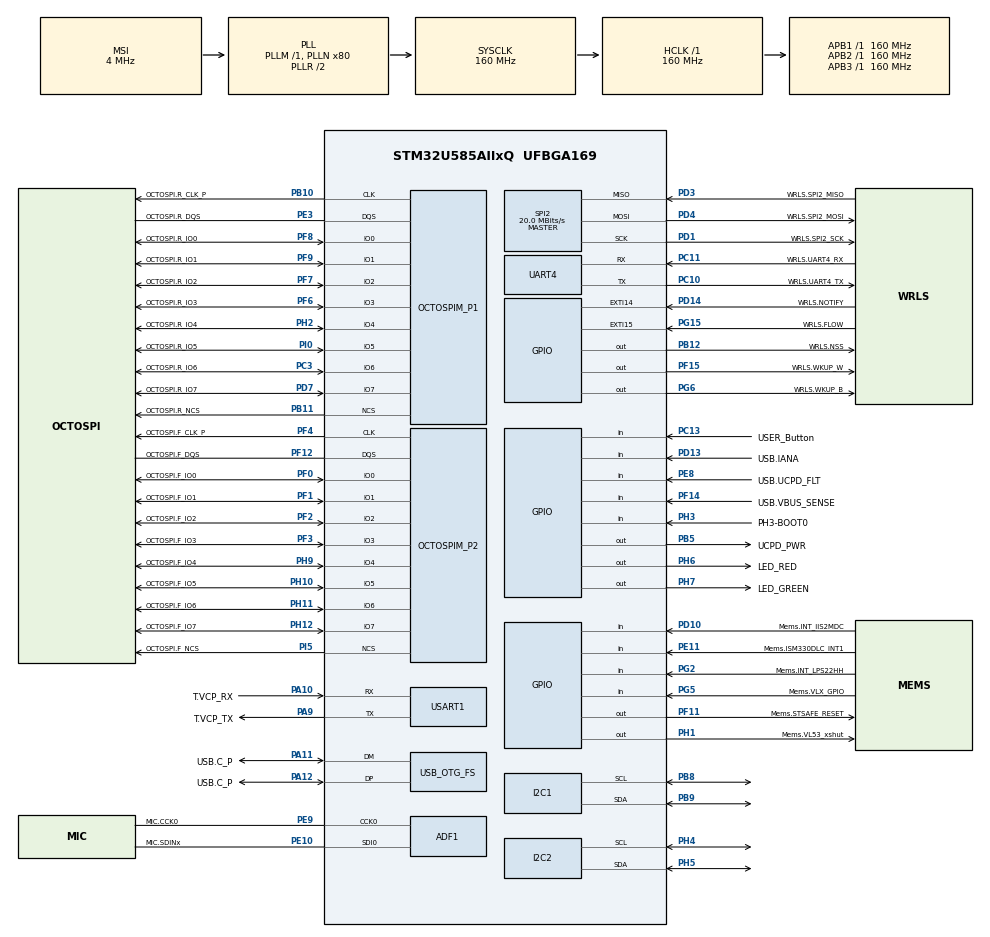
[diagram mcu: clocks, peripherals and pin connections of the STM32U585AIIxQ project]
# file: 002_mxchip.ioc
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CORTEX_M33_NS.userName=CORTEX_M33
GPDMA1.DESTINC_GPDMACH4=DMA_DINC_INCREMENTED
GPDMA1.DIRECTION_GPDMACH5=DMA_MEMORY_TO_PERIPH
GPDMA1.IPHANDLE_GPDMACH4-SIMPLEREQUEST_GPDMACH4=__NULL
GPDMA1.IPHANDLE_GPDMACH5-SIMPLEREQUEST_GPDMACH5=__NULL
GPDMA1.PRIORITY_GPDMACH4=DMA_LOW_PRIORITY_HIGH_WEIGHT
GPDMA1.PRIORITY_GPDMACH5=DMA_LOW_PRIORITY_HIGH_WEIGHT
GPDMA1.REQUEST_GPDMACH4=GPDMA1_REQUEST_SPI2_RX
GPDMA1.REQUEST_GPDMACH5=GPDMA1_REQUEST_SPI2_TX
GPDMA1.SRCINC_GPDMACH5=DMA_SINC_INCREMENTED
GPDMA1.TRANSFERALLOCATEDPORTDEST_GPDMACH4=DMA_DEST_ALLOCATED_PORT1
GPDMA1.TRANSFERALLOCATEDPORTDEST_GPDMACH5=DMA_DEST_ALLOCATED_PORT1
I2C1.Timing=0x30909DEC
I2C2.Timing=0x30909DEC
Mcu.Family=STM32U5
Mcu.Name=STM32U585AIIxQ
Mcu.Package=UFBGA169
NETXDUO.NX_APP_MEM_POOL_SIZE=(160 * 1024)
NETXDUO.NX_DISABLE_LOOPBACK_INTERFACE=true
NETXDUO.NX_DNS_IP_GATEWAY_AND_DNS_SERVER=true
NETXDUO.NX_DRIVER_DEFERRED_PROCESSING=true
NETXDUO.NX_ENABLE_EXTENDED_NOTIFY_SUPPORT=true
NETXDUO.NX_ENABLE_IP_RAW_PACKET_FILTER=true
NETXDUO.NX_IP_PERIODIC_RATE=1000
NETXDUO.NX_PHYSICAL_HEADER=44
NETXDUO.NX_TCP_IMMEDIATE_ACK=true
NVIC.EXTI14_IRQn=true\:2\:0\:true\:false\:true\:false\:true\:true\:true
NVIC.EXTI15_IRQn=true\:2\:0\:true\:false\:true\:false\:true\:true\:true
NVIC.GPDMA1_Channel4_IRQn=true\:2\:0\:true\:false\:true\:false\:false\:true\:true
NVIC.GPDMA1_Channel5_IRQn=true\:2\:0\:true\:false\:true\:false\:false\:true\:true
NVIC.PriorityGroup=NVIC_PRIORITYGROUP_4
NVIC.SPI2_IRQn=true\:2\:0\:true\:false\:true\:false\:true\:true\:true
NVIC.TIM6_IRQn=true\:0\:0\:true\:false\:true\:false\:false\:true\:true
NVIC.TimeBase=TIM6_IRQn
NVIC.TimeBaseIP=TIM6
NVIC.USART1_IRQn=true\:3\:0\:true\:false\:true\:false\:true\:true\:true
OCTOSPI1.ChipSelectBoundary=10
OCTOSPI1.ClockPrescaler=2
OCTOSPI1.DelayBlockBypass=HAL_OSPI_DELAY_BLOCK_USED
OCTOSPI1.DelayHoldQuarterCycle=HAL_OSPI_DHQC_ENABLE
OCTOSPI1.DeviceSize=23
OCTOSPI1.MemoryType=HAL_OSPI_MEMTYPE_APMEMORY
OCTOSPI1.Refresh=100
OCTOSPI2.ChipSelectBoundary=0
OCTOSPI2.ChipSelectHighTime=2
OCTOSPI2.ClockPrescaler=4
OCTOSPI2.DelayBlockBypass=HAL_OSPI_DELAY_BLOCK_USED
OCTOSPI2.DelayHoldQuarterCycle=HAL_OSPI_DHQC_ENABLE
OCTOSPI2.DeviceSize=26
OCTOSPI2.FifoThreshold=4
OCTOSPI2.MemoryType=HAL_OSPI_MEMTYPE_MACRONIX
PA10.GPIO_Label=T.VCP_RX
PA10.Mode=Asynchronous
PA10.Signal=USART1_RX
PA11.GPIO_Label=USB.C_P
PA11.Mode=Device_Only
PA11.Signal=USB_OTG_FS_DM
PA12.GPIO_Label=USB.C_P
PA12.Mode=Device_Only
PA12.Signal=USB_OTG_FS_DP
PA13\ (JTMS/SWDIO).GPIO_Label=T.SWDIO
PA13\ (JTMS/SWDIO).Mode=Trace_Asynchronous_SW
PA13\ (JTMS/SWDIO).Signal=DEBUG_JTMS-SWDIO
PA14\ (JTCK/SWCLK).GPIO_Label=T.SWCLK
PA14\ (JTCK/SWCLK).Mode=Trace_Asynchronous_SW
PA14\ (JTCK/SWCLK).Signal=DEBUG_JTCK-SWCLK
PA9.GPIO_Label=T.VCP_TX
PA9.Mode=Asynchronous
PA9.Signal=USART1_TX
PB1.GPIO_Label=MIC.SDIN0
PB1.Signal=MDF1_SDI0
PB10.GPIO_Label=OCTOSPI.R_CLK_P
PB10.Mode=O1_P1_CLK
PB10.Signal=OCTOSPIM_P1_CLK
PB11.GPIO_Label=OCTOSPI.R_NCS
PB11.Mode=OCTOSPI1_Port1_NCS
PB11.Signal=OCTOSPIM_P1_NCS
PB12.GPIO_Label=WRLS.NSS
PB12.GPIO_Speed=GPIO_SPEED_FREQ_HIGH
PB12.PinState=GPIO_PIN_SET
PB12.Signal=GPIO_Output
PB15.GPIO_Label=USB.UCPD_CC2
PB15.Signal=UCPD1_CC2
PB3\ (JTDO/TRACESWO).GPIO_Label=T.SWO
PB3\ (JTDO/TRACESWO).Mode=Trace_Asynchronous_SW
PB3\ (JTDO/TRACESWO).Signal=DEBUG_JTDO-SWO
PB5.GPIO_Label=UCPD_PWR
PB5.Signal=GPIO_Output
PB8.Mode=I2C
PB8.Signal=I2C1_SCL
PB9.Mode=I2C
PB9.Signal=I2C1_SDA
PC10.GPIO_Label=WRLS.UART4_TX
PC10.Mode=Asynchronous
PC10.Signal=UART4_TX
PC11.GPIO_Label=WRLS.UART4_RX
PC11.Mode=Asynchronous
PC11.Signal=UART4_RX
PC13.GPIO_Label=USER_Button
PC13.Signal=GPIO_Input
PC14-OSC32_IN\ (PC14).GPIO_Label=PC14-OSC32_IN
PC14-OSC32_IN\ (PC14).Mode=LSE-External-Oscillator
PC14-OSC32_IN\ (PC14).Signal=RCC_OSC32_IN
PC15-OSC32_OUT\ (PC15).GPIO_Label=PC15-OSC32_OUT
PC15-OSC32_OUT\ (PC15).Mode=LSE-External-Oscillator
PC15-OSC32_OUT\ (PC15).Signal=RCC_OSC32_OUT
PC3.GPIO_Label=OCTOSPI.R_IO6
PC3.Mode=OCTOSPI1_IOH_Port1H
PC3.Signal=OCTOSPIM_P1_IO6
PD1.GPIO_Label=WRLS.SPI2_SCK
PD1.GPIO_Speed=GPIO_SPEED_FREQ_HIGH
PD1.Mode=Full_Duplex_Master
PD1.Signal=SPI2_SCK
PD10.GPIO_Label=Mems.INT_IIS2MDC
PD10.Signal=GPIO_Input
PD13.GPIO_Label=USB.IANA
PD13.Signal=GPIO_Input
PD14.GPIO_Label=WRLS.NOTIFY
PD14.Signal=GPXTI14
PD3.GPIO_Label=WRLS.SPI2_MISO
PD3.GPIO_Speed=GPIO_SPEED_FREQ_HIGH
PD3.Mode=Full_Duplex_Master
PD3.Signal=SPI2_MISO
PD4.GPIO_Label=WRLS.SPI2_MOSI
PD4.GPIO_Speed=GPIO_SPEED_FREQ_HIGH
PD4.Mode=Full_Duplex_Master
PD4.Signal=SPI2_MOSI
PD7.GPIO_Label=OCTOSPI.R_IO7
PD7.Mode=OCTOSPI1_IOH_Port1H
PD7.Signal=OCTOSPIM_P1_IO7
PE10.GPIO_Label=MIC.SDINx
PE10.Mode=MOD_ADF_CCK
PE10.Signal=ADF1_SDI0
PE11.GPIO_Label=Mems.ISM330DLC_INT1
PE11.Signal=GPIO_Input
PE3.GPIO_Label=OCTOSPI.R_DQS
PE3.Mode=OCTOSPI1_Port1_DQS
PE3.Signal=OCTOSPIM_P1_DQS
PE8.GPIO_Label=USB.UCPD_FLT
PE8.Signal=GPIO_Input
PE9.GPIO_Label=MIC.CCK0
PE9.Mode=MOD_MDF_CCK0
PE9.Signal=ADF1_CCK0
PF0.GPIO_Label=OCTOSPI.F_IO0
PF0.Mode=OCTOSPI2_IOL_Port2L
PF0.Signal=OCTOSPIM_P2_IO0
PF1.GPIO_Label=OCTOSPI.F_IO1
PF1.Mode=OCTOSPI2_IOL_Port2L
PF1.Signal=OCTOSPIM_P2_IO1
PF10.GPIO_Label=MIC.CCK1
PF10.Signal=MDF1_CCK1
PF11.GPIO_Label=Mems.STSAFE_RESET
PF11.Signal=GPIO_Output
PF12.GPIO_Label=OCTOSPI.F_DQS
PF12.Mode=OCTOSPI2_Port2_DQS
PF12.Signal=OCTOSPIM_P2_DQS
PF14.GPIO_Label=USB.VBUS_SENSE
PF14.Signal=GPIO_Input
PF15.GPIO_Label=WRLS.WKUP_W
PF15.Signal=GPIO_Output
PF2.GPIO_Label=OCTOSPI.F_IO2
PF2.Mode=OCTOSPI2_IOL_Port2L
PF2.Signal=OCTOSPIM_P2_IO2
PF3.GPIO_Label=OCTOSPI.F_IO3
PF3.Mode=OCTOSPI2_IOL_Port2L
PF3.Signal=OCTOSPIM_P2_IO3
PF4.GPIO_Label=OCTOSPI.F_CLK_P
PF4.Mode=O2_P2_CLK
PF4.Signal=OCTOSPIM_P2_CLK
PF6.GPIO_Label=OCTOSPI.R_IO3
PF6.Mode=OCTOSPI1_IOL_Port1L
PF6.Signal=OCTOSPIM_P1_IO3
PF7.GPIO_Label=OCTOSPI.R_IO2
PF7.Mode=OCTOSPI1_IOL_Port1L
PF7.Signal=OCTOSPIM_P1_IO2
PF8.GPIO_Label=OCTOSPI.R_IO0
PF8.Mode=OCTOSPI1_IOL_Port1L
PF8.Signal=OCTOSPIM_P1_IO0
PF9.GPIO_Label=OCTOSPI.R_IO1
PF9.Mode=OCTOSPI1_IOL_Port1L
PF9.Signal=OCTOSPIM_P1_IO1
PG15.GPIO_Label=WRLS.FLOW
PG15.Signal=GPXTI15
PG2.GPIO_Label=Mems.INT_LPS22HH
PG2.Signal=GPIO_Input
PG5.GPIO_Label=Mems.VLX_GPIO
PG5.Signal=GPIO_Input
PG6.GPIO_Label=WRLS.WKUP_B
PG6.Signal=GPIO_Output
PH1-OSC_OUT\ (PH1).GPIO_Label=Mems.VL53_xshut
PH1-OSC_OUT\ (PH1).Signal=GPIO_Output
PH10.GPIO_Label=OCTOSPI.F_IO5
PH10.Mode=OCTOSPI2_IOH_Port2H
PH10.Signal=OCTOSPIM_P2_IO5
PH11.GPIO_Label=OCTOSPI.F_IO6
PH11.Mode=OCTOSPI2_IOH_Port2H
PH11.Signal=OCTOSPIM_P2_IO6
PH12.GPIO_Label=OCTOSPI.F_IO7
PH12.Mode=OCTOSPI2_IOH_Port2H
PH12.Signal=OCTOSPIM_P2_IO7
PH2.GPIO_Label=OCTOSPI.R_IO4
PH2.Mode=OCTOSPI1_IOH_Port1H
PH2.Signal=OCTOSPIM_P1_IO4
PH3-BOOT0.GPIO_Label=PH3-BOOT0
PH3-BOOT0.Signal=GPIO_Input
PH4.Mode=I2C
PH4.Signal=I2C2_SCL
PH5.Mode=I2C
PH5.Signal=I2C2_SDA
PH6.GPIO_Label=LED_RED
PH6.Signal=GPIO_Output
PH7.GPIO_Label=LED_GREEN
PH7.Signal=GPIO_Output
PH9.GPIO_Label=OCTOSPI.F_IO4
PH9.Mode=OCTOSPI2_IOH_Port2H
PH9.Signal=OCTOSPIM_P2_IO4
PI0.GPIO_Label=OCTOSPI.R_IO5
PI0.Mode=OCTOSPI1_IOH_Port1H
PI0.Signal=OCTOSPIM_P1_IO5
PI5.GPIO_Label=OCTOSPI.F_NCS
PI5.Mode=OCTOSPI2_Port2_NCS
PI5.Signal=OCTOSPIM_P2_NCS
PWR.PowerMode=PWR_SMPS_SUPPLY
ProjectManager.HeapSize=0x200
ProjectManager.StackSize=0x400
ProjectManager.TargetToolchain=STM32CubeIDE
RCC.ADCFreq_Value=16000000
RCC.AHBFreq_Value=160000000
RCC.APB1Freq_Value=160000000
RCC.APB1TimFreq_Value=160000000
RCC.APB2Freq_Value=160000000
RCC.APB2TimFreq_Value=160000000
RCC.APB3Freq_Value=160000000
RCC.CortexFreq_Value=160000000
RCC.DACCLockSelectionVirtual=RCC_DAC1CLKSOURCE_LSI
RCC.EPOD_VALUE=4000000
RCC.HCLKFreq_Value=160000000
RCC.HSE_VALUE=16000000
RCC.HSI48_VALUE=48000000
RCC.HSI_VALUE=16000000
RCC.LSIDIV_VALUE=32000
RCC.MSI_VALUE=4000000
RCC.PLLN=80
RCC.SYSCLKFreq_VALUE=160000000
RCC.SYSCLKSource=RCC_SYSCLKSOURCE_PLLCLK
RCC.USBFreq_Value=48000000
RCC.VCOOutputFreq_Value=320000000
SPI2.BaudRatePrescaler=SPI_BAUDRATEPRESCALER_8
SPI2.CalculateBaudRate=20.0 MBits/s
SPI2.DataSize=SPI_DATASIZE_8BIT
SPI2.Direction=SPI_DIRECTION_2LINES
SPI2.Mode=SPI_MODE_MASTER
SPI2.NSSPMode=SPI_NSS_PULSE_DISABLE
SPI2.VirtualType=VM_MASTER
THREADX.TX_APP_MEM_POOL_SIZE=(2 * 1024)
USART1.VirtualMode-Asynchronous=VM_ASYNC
USB_OTG_FS.VirtualMode=Device_Only
VP_GPDMA1_VS_GPDMACH4.Mode=SIMPLEREQUEST_GPDMACH4
VP_GPDMA1_VS_GPDMACH5.Mode=SIMPLEREQUEST_GPDMACH5
VP_ICACHE_VS_ICACHE.Mode=DirectMappedCache
VP_LPBAMQUEUE_VS_QUEUE.Mode=QUEUEMODE
VP_LPBAM_VS_SIG1.Mode=SmartRun
VP_LPBAM_VS_SIG4.Mode=LPDMA1
VP_MEMORYMAP_VS_MEMORYMAP.Mode=CurAppReg
VP_NETXDUO_VS_AddonsOoDHCP.Mode=Addons_DHCP_Client
VP_NETXDUO_VS_AddonsOoDNS.Mode=Addons_DNS
VP_NETXDUO_VS_NXOoCore.Mode=NX_Core
VP_OCTOSPI1_VS_octo.Mode=octo_mode
VP_OCTOSPI2_VS_octo.Mode=octo_mode
VP_PWR_VS_DBSignals.Mode=DisableDeadBatterySignals
VP_PWR_VS_LPOM.Mode=PowerOptimisation
VP_PWR_VS_SECSignals.Mode=Security/Privilege
VP_RNG_VS_RNG.Mode=RNG_Activate
VP_SYS_VS_tim6.Mode=TIM6
VP_THREADX_VS_RTOSJjThreadXJjCoreJjDefault.Mode=Core_Default
VP_THREADX_VS_RTOSJjThreadXJjLow_Power_Support.Mode=Low_Power_Support
board=B-U585I-IOT02A

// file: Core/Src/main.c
/* USER CODE BEGIN Header */
/**
  ******************************************************************************
  * @file           : main.c
  * @brief          : Main program body
  ******************************************************************************
  * @attention
  *
  * Copyright (c) 2025 STMicroelectronics.
  * All rights reserved.
  *
  * This software is licensed under terms that can be found in the LICENSE file
  * in the root directory of this software component.
  * If no LICENSE file comes with this software, it is provided AS-IS.
  *
  ******************************************************************************
  */
/* USER CODE END Header */
#include "app_threadx.h"
#include "main.h"

/* USER CODE BEGIN Includes */
#include <stdio.h>

/* USER CODE END Includes */

MDF_HandleTypeDef AdfHandle0;
MDF_FilterConfigTypeDef AdfFilterConfig0;

I2C_HandleTypeDef hi2c1;
I2C_HandleTypeDef hi2c2;

OSPI_HandleTypeDef hospi1;
OSPI_HandleTypeDef hospi2;

RNG_HandleTypeDef hrng;

SPI_HandleTypeDef hspi2;
DMA_HandleTypeDef handle_GPDMA1_Channel5;
DMA_HandleTypeDef handle_GPDMA1_Channel4;

UART_HandleTypeDef huart4;
UART_HandleTypeDef huart1;

PCD_HandleTypeDef hpcd_USB_OTG_FS;

void SystemClock_Config(void);
static void SystemPower_Config(void);
static void MX_GPIO_Init(void);
static void MX_GPDMA1_Init(void);
static void MX_ADF1_Init(void);
static void MX_I2C1_Init(void);
static void MX_I2C2_Init(void);
static void MX_ICACHE_Init(void);
static void MX_OCTOSPI1_Init(void);
static void MX_OCTOSPI2_Init(void);
static void MX_SPI2_Init(void);
static void MX_UART4_Init(void);
static void MX_USART1_UART_Init(void);
static void MX_USB_OTG_FS_PCD_Init(void);
static void MX_RNG_Init(void);

/* USER CODE BEGIN 0 */
/**
 * @brief Redirect printf to UART1
 * @param ch: Character to send
 * @retval int: Character sent
 */
int __io_putchar(int ch)
{
  HAL_UART_Transmit(&huart1, (uint8_t *)&ch, 1, HAL_MAX_DELAY);
  return ch;
}
/* USER CODE END 0 */

int main(void)
{

  /* MCU Configuration--------------------------------------------------------*/

  /* Reset of all peripherals, Initializes the Flash interface and the Systick. */
  HAL_Init();

  /* Configure the System Power */
  SystemPower_Config();

  /* Configure the system clock */
  SystemClock_Config();

  /* Initialize all configured peripherals */
  MX_GPIO_Init();
  MX_GPDMA1_Init();
  MX_ADF1_Init();
  MX_I2C1_Init();
  MX_I2C2_Init();
  MX_ICACHE_Init();
  MX_OCTOSPI1_Init();
  MX_OCTOSPI2_Init();
  MX_SPI2_Init();
  MX_UART4_Init();
  MX_USART1_UART_Init();
  MX_USB_OTG_FS_PCD_Init();
  MX_RNG_Init();
  /* USER CODE BEGIN 2 */

  printf("\r\n=== MXCHIP SPI Connection Test ===\r\n");

  /* Test 1: Check pin states */
  printf("Pin states:\r\n");
  printf("- WRLS_FLOW: %s\r\n", HAL_GPIO_ReadPin(WRLS_FLOW_GPIO_Port, WRLS_FLOW_Pin) ? "HIGH" : "LOW");
  printf("- WRLS_NOTIFY: %s\r\n", HAL_GPIO_ReadPin(WRLS_NOTIFY_GPIO_Port, WRLS_NOTIFY_Pin) ? "HIGH" : "LOW");
  printf("- WRLS_NSS: %s\r\n", HAL_GPIO_ReadPin(WRLS_NSS_GPIO_Port, WRLS_NSS_Pin) ? "HIGH" : "LOW");
  printf("- WRLS_WKUP_W: %s\r\n", HAL_GPIO_ReadPin(WRLS_WKUP_W_GPIO_Port, WRLS_WKUP_W_Pin) ? "HIGH" : "LOW");
  printf("- WRLS_WKUP_B: %s\r\n", HAL_GPIO_ReadPin(WRLS_WKUP_B_GPIO_Port, WRLS_WKUP_B_Pin) ? "HIGH" : "LOW");

  /* Test 2: Enable MXCHIP power */
  printf("\r\nEnabling MXCHIP power...\r\n");
  HAL_GPIO_WritePin(WRLS_WKUP_B_GPIO_Port, WRLS_WKUP_B_Pin, GPIO_PIN_SET);
  HAL_Delay(100);

  /* Test 3: Reset MXCHIP module */
  printf("Resetting MXCHIP module...\r\n");
  HAL_GPIO_WritePin(WRLS_WKUP_W_GPIO_Port, WRLS_WKUP_W_Pin, GPIO_PIN_RESET);
  HAL_Delay(100);
  HAL_GPIO_WritePin(WRLS_WKUP_W_GPIO_Port, WRLS_WKUP_W_Pin, GPIO_PIN_SET);
  HAL_Delay(2000); // Wait for module boot

  /* Test 4: Check pin states after reset */
  printf("Pin states after reset:\r\n");
  printf("- WRLS_FLOW: %s\r\n", HAL_GPIO_ReadPin(WRLS_FLOW_GPIO_Port, WRLS_FLOW_Pin) ? "HIGH" : "LOW");
  printf("- WRLS_NOTIFY: %s\r\n", HAL_GPIO_ReadPin(WRLS_NOTIFY_GPIO_Port, WRLS_NOTIFY_Pin) ? "HIGH" : "LOW");

  /* Test 5: SPI Communication Test */
  printf("\r\nTesting SPI communication...\r\n");

  // Select device (NSS low)
  HAL_GPIO_WritePin(WRLS_NSS_GPIO_Port, WRLS_NSS_Pin, GPIO_PIN_RESET);
  HAL_Delay(1);

  // Send test data
  uint8_t tx_data[4] = {0x00, 0xFF, 0xAA, 0x55};
  uint8_t rx_data[4] = {0x00, 0x00, 0x00, 0x00};
  HAL_StatusTypeDef spi_status = HAL_SPI_TransmitReceive(&hspi2, tx_data, rx_data, 4, 1000);

  // Deselect device (NSS high)
  HAL_GPIO_WritePin(WRLS_NSS_GPIO_Port, WRLS_NSS_Pin, GPIO_PIN_SET);

  printf("SPI Test Result: %s\r\n", (spi_status == HAL_OK) ? "OK" : "FAILED");
  printf("TX: [0x%02X, 0x%02X, 0x%02X, 0x%02X]\r\n", tx_data[0], tx_data[1], tx_data[2], tx_data[3]);
  printf("RX: [0x%02X, 0x%02X, 0x%02X, 0x%02X]\r\n", rx_data[0], rx_data[1], rx_data[2], rx_data[3]);
  printf("SPI ErrorCode: 0x%08lX\r\n", hspi2.ErrorCode);

  if (spi_status == HAL_OK) {
    printf("SPI communication is working!\r\n");
    HAL_GPIO_WritePin(LED_GREEN_GPIO_Port, LED_GREEN_Pin, GPIO_PIN_SET);
  } else {
    printf("SPI communication failed!\r\n");
    HAL_GPIO_WritePin(LED_RED_GPIO_Port, LED_RED_Pin, GPIO_PIN_SET);
  }

  printf("\r\n=== Test Complete ===\r\n");

  /* USER CODE END 2 */

  MX_ThreadX_Init();

  /* We should never get here as control is now taken by the scheduler */

  /* Infinite loop */
  while (1)
  {

  }
}

void SystemClock_Config(void)
{
  RCC_OscInitTypeDef RCC_OscInitStruct = {0};
  RCC_ClkInitTypeDef RCC_ClkInitStruct = {0};

  /** Configure the main internal regulator output voltage
  */
  if (HAL_PWREx_ControlVoltageScaling(PWR_REGULATOR_VOLTAGE_SCALE1) != HAL_OK)
  {
    Error_Handler();
  }

  /** Initializes the CPU, AHB and APB buses clocks
  */
  RCC_OscInitStruct.OscillatorType = RCC_OSCILLATORTYPE_HSI48|RCC_OSCILLATORTYPE_MSI;
  RCC_OscInitStruct.HSI48State = RCC_HSI48_ON;
  RCC_OscInitStruct.MSIState = RCC_MSI_ON;
  RCC_OscInitStruct.MSICalibrationValue = RCC_MSICALIBRATION_DEFAULT;
  RCC_OscInitStruct.MSIClockRange = RCC_MSIRANGE_4;
  RCC_OscInitStruct.PLL.PLLState = RCC_PLL_ON;
  RCC_OscInitStruct.PLL.PLLSource = RCC_PLLSOURCE_MSI;
  RCC_OscInitStruct.PLL.PLLMBOOST = RCC_PLLMBOOST_DIV1;
  RCC_OscInitStruct.PLL.PLLM = 1;
  RCC_OscInitStruct.PLL.PLLN = 80;
  RCC_OscInitStruct.PLL.PLLP = 2;
  RCC_OscInitStruct.PLL.PLLQ = 2;
  RCC_OscInitStruct.PLL.PLLR = 2;
  RCC_OscInitStruct.PLL.PLLRGE = RCC_PLLVCIRANGE_0;
  RCC_OscInitStruct.PLL.PLLFRACN = 0;
  if (HAL_RCC_OscConfig(&RCC_OscInitStruct) != HAL_OK)
  {
    Error_Handler();
  }

  /** Initializes the CPU, AHB and APB buses clocks
  */
  RCC_ClkInitStruct.ClockType = RCC_CLOCKTYPE_HCLK|RCC_CLOCKTYPE_SYSCLK
                              |RCC_CLOCKTYPE_PCLK1|RCC_CLOCKTYPE_PCLK2
                              |RCC_CLOCKTYPE_PCLK3;
  RCC_ClkInitStruct.SYSCLKSource = RCC_SYSCLKSOURCE_PLLCLK;
  RCC_ClkInitStruct.AHBCLKDivider = RCC_SYSCLK_DIV1;
  RCC_ClkInitStruct.APB1CLKDivider = RCC_HCLK_DIV1;
  RCC_ClkInitStruct.APB2CLKDivider = RCC_HCLK_DIV1;
  RCC_ClkInitStruct.APB3CLKDivider = RCC_HCLK_DIV1;

  if (HAL_RCC_ClockConfig(&RCC_ClkInitStruct, FLASH_LATENCY_4) != HAL_OK)
  {
    Error_Handler();
  }
}

/**
  * @brief Power Configuration
  * @retval None
  */
static void SystemPower_Config(void)
{
  HAL_PWREx_EnableVddIO2();

  /*
   * Disable the internal Pull-Up in Dead Battery pins of UCPD peripheral
   */
  HAL_PWREx_DisableUCPDDeadBattery();

  /*
   * Switch to SMPS regulator instead of LDO
   */
  if (HAL_PWREx_ConfigSupply(PWR_SMPS_SUPPLY) != HAL_OK)
  {
    Error_Handler();
  }
}

static void MX_ADF1_Init(void)
{

  /**
    AdfHandle0 structure initialization and HAL_MDF_Init function call
  */
  AdfHandle0.Instance = ADF1_Filter0;
  AdfHandle0.Init.CommonParam.ProcClockDivider = 1;
  AdfHandle0.Init.CommonParam.OutputClock.Activation = DISABLE;
  AdfHandle0.Init.SerialInterface.Activation = ENABLE;
  AdfHandle0.Init.SerialInterface.Mode = MDF_SITF_LF_MASTER_SPI_MODE;
  AdfHandle0.Init.SerialInterface.ClockSource = MDF_SITF_CCK0_SOURCE;
  AdfHandle0.Init.SerialInterface.Threshold = 4;
  AdfHandle0.Init.FilterBistream = MDF_BITSTREAM0_FALLING;
  if (HAL_MDF_Init(&AdfHandle0) != HAL_OK)
  {
    Error_Handler();
  }

  /**
    AdfFilterConfig0 structure initialization

    WARNING : only structure is filled, no specific init function call for filter
  */
  AdfFilterConfig0.DataSource = MDF_DATA_SOURCE_BSMX;
  AdfFilterConfig0.Delay = 0;
  AdfFilterConfig0.CicMode = MDF_ONE_FILTER_SINC4;
  AdfFilterConfig0.DecimationRatio = 2;
  AdfFilterConfig0.Gain = 0;
  AdfFilterConfig0.ReshapeFilter.Activation = DISABLE;
  AdfFilterConfig0.HighPassFilter.Activation = DISABLE;
  AdfFilterConfig0.SoundActivity.Activation = DISABLE;
  AdfFilterConfig0.AcquisitionMode = MDF_MODE_ASYNC_CONT;
  AdfFilterConfig0.FifoThreshold = MDF_FIFO_THRESHOLD_NOT_EMPTY;
  AdfFilterConfig0.DiscardSamples = 0;

}

static void MX_GPDMA1_Init(void)
{

  /* Peripheral clock enable */
  __HAL_RCC_GPDMA1_CLK_ENABLE();

  /* GPDMA1 interrupt Init */
    HAL_NVIC_SetPriority(GPDMA1_Channel4_IRQn, 2, 0);
    HAL_NVIC_EnableIRQ(GPDMA1_Channel4_IRQn);
    HAL_NVIC_SetPriority(GPDMA1_Channel5_IRQn, 2, 0);
    HAL_NVIC_EnableIRQ(GPDMA1_Channel5_IRQn);

}

static void MX_I2C1_Init(void)
{

  hi2c1.Instance = I2C1;
  hi2c1.Init.Timing = 0x30909DEC;
  hi2c1.Init.OwnAddress1 = 0;
  hi2c1.Init.AddressingMode = I2C_ADDRESSINGMODE_7BIT;
  hi2c1.Init.DualAddressMode = I2C_DUALADDRESS_DISABLE;
  hi2c1.Init.OwnAddress2 = 0;
  hi2c1.Init.OwnAddress2Masks = I2C_OA2_NOMASK;
  hi2c1.Init.GeneralCallMode = I2C_GENERALCALL_DISABLE;
  hi2c1.Init.NoStretchMode = I2C_NOSTRETCH_DISABLE;
  if (HAL_I2C_Init(&hi2c1) != HAL_OK)
  {
    Error_Handler();
  }

  /** Configure Analogue filter
  */
  if (HAL_I2CEx_ConfigAnalogFilter(&hi2c1, I2C_ANALOGFILTER_ENABLE) != HAL_OK)
  {
    Error_Handler();
  }

  /** Configure Digital filter
  */
  if (HAL_I2CEx_ConfigDigitalFilter(&hi2c1, 0) != HAL_OK)
  {
    Error_Handler();
  }

}

static void MX_I2C2_Init(void)
{

  hi2c2.Instance = I2C2;
  hi2c2.Init.Timing = 0x30909DEC;
  hi2c2.Init.OwnAddress1 = 0;
  hi2c2.Init.AddressingMode = I2C_ADDRESSINGMODE_7BIT;
  hi2c2.Init.DualAddressMode = I2C_DUALADDRESS_DISABLE;
  hi2c2.Init.OwnAddress2 = 0;
  hi2c2.Init.OwnAddress2Masks = I2C_OA2_NOMASK;
  hi2c2.Init.GeneralCallMode = I2C_GENERALCALL_DISABLE;
  hi2c2.Init.NoStretchMode = I2C_NOSTRETCH_DISABLE;
  if (HAL_I2C_Init(&hi2c2) != HAL_OK)
  {
    Error_Handler();
  }

  /** Configure Analogue filter
  */
  if (HAL_I2CEx_ConfigAnalogFilter(&hi2c2, I2C_ANALOGFILTER_ENABLE) != HAL_OK)
  {
    Error_Handler();
  }

  /** Configure Digital filter
  */
  if (HAL_I2CEx_ConfigDigitalFilter(&hi2c2, 0) != HAL_OK)
  {
    Error_Handler();
  }

}

static void MX_ICACHE_Init(void)
{

  /** Enable instruction cache in 1-way (direct mapped cache)
  */
  if (HAL_ICACHE_ConfigAssociativityMode(ICACHE_1WAY) != HAL_OK)
  {
    Error_Handler();
  }
  if (HAL_ICACHE_Enable() != HAL_OK)
  {
    Error_Handler();
  }

}

static void MX_OCTOSPI1_Init(void)
{

  OSPIM_CfgTypeDef sOspiManagerCfg = {0};
  HAL_OSPI_DLYB_CfgTypeDef HAL_OSPI_DLYB_Cfg_Struct = {0};

  /* OCTOSPI1 parameter configuration*/
  hospi1.Instance = OCTOSPI1;
  hospi1.Init.FifoThreshold = 1;
  hospi1.Init.DualQuad = HAL_OSPI_DUALQUAD_DISABLE;
  hospi1.Init.MemoryType = HAL_OSPI_MEMTYPE_APMEMORY;
  hospi1.Init.DeviceSize = 23;
  hospi1.Init.ChipSelectHighTime = 1;
  hospi1.Init.FreeRunningClock = HAL_OSPI_FREERUNCLK_DISABLE;
  hospi1.Init.ClockMode = HAL_OSPI_CLOCK_MODE_0;
  hospi1.Init.WrapSize = HAL_OSPI_WRAP_NOT_SUPPORTED;
  hospi1.Init.ClockPrescaler = 2;
  hospi1.Init.SampleShifting = HAL_OSPI_SAMPLE_SHIFTING_NONE;
  hospi1.Init.DelayHoldQuarterCycle = HAL_OSPI_DHQC_ENABLE;
  hospi1.Init.ChipSelectBoundary = 10;
  hospi1.Init.DelayBlockBypass = HAL_OSPI_DELAY_BLOCK_USED;
  hospi1.Init.MaxTran = 0;
  hospi1.Init.Refresh = 100;
  if (HAL_OSPI_Init(&hospi1) != HAL_OK)
  {
    Error_Handler();
  }
  sOspiManagerCfg.ClkPort = 1;
  sOspiManagerCfg.DQSPort = 1;
  sOspiManagerCfg.NCSPort = 1;
  sOspiManagerCfg.IOLowPort = HAL_OSPIM_IOPORT_1_LOW;
  sOspiManagerCfg.IOHighPort = HAL_OSPIM_IOPORT_1_HIGH;
  if (HAL_OSPIM_Config(&hospi1, &sOspiManagerCfg, HAL_OSPI_TIMEOUT_DEFAULT_VALUE) != HAL_OK)
  {
    Error_Handler();
  }
  HAL_OSPI_DLYB_Cfg_Struct.Units = 0;
  HAL_OSPI_DLYB_Cfg_Struct.PhaseSel = 0;
  if (HAL_OSPI_DLYB_SetConfig(&hospi1, &HAL_OSPI_DLYB_Cfg_Struct) != HAL_OK)
  {
    Error_Handler();
  }

}

static void MX_OCTOSPI2_Init(void)
{

  OSPIM_CfgTypeDef sOspiManagerCfg = {0};
  HAL_OSPI_DLYB_CfgTypeDef HAL_OSPI_DLYB_Cfg_Struct = {0};

  /* OCTOSPI2 parameter configuration*/
  hospi2.Instance = OCTOSPI2;
  hospi2.Init.FifoThreshold = 4;
  hospi2.Init.DualQuad = HAL_OSPI_DUALQUAD_DISABLE;
  hospi2.Init.MemoryType = HAL_OSPI_MEMTYPE_MACRONIX;
  hospi2.Init.DeviceSize = 26;
  hospi2.Init.ChipSelectHighTime = 2;
  hospi2.Init.FreeRunningClock = HAL_OSPI_FREERUNCLK_DISABLE;
  hospi2.Init.ClockMode = HAL_OSPI_CLOCK_MODE_0;
  hospi2.Init.WrapSize = HAL_OSPI_WRAP_NOT_SUPPORTED;
  hospi2.Init.ClockPrescaler = 4;
  hospi2.Init.SampleShifting = HAL_OSPI_SAMPLE_SHIFTING_NONE;
  hospi2.Init.DelayHoldQuarterCycle = HAL_OSPI_DHQC_ENABLE;
  hospi2.Init.ChipSelectBoundary = 0;
  hospi2.Init.DelayBlockBypass = HAL_OSPI_DELAY_BLOCK_USED;
  hospi2.Init.MaxTran = 0;
  hospi2.Init.Refresh = 0;
  if (HAL_OSPI_Init(&hospi2) != HAL_OK)
  {
    Error_Handler();
  }
  sOspiManagerCfg.ClkPort = 2;
  sOspiManagerCfg.DQSPort = 2;
  sOspiManagerCfg.NCSPort = 2;
  sOspiManagerCfg.IOLowPort = HAL_OSPIM_IOPORT_2_LOW;
  sOspiManagerCfg.IOHighPort = HAL_OSPIM_IOPORT_2_HIGH;
  if (HAL_OSPIM_Config(&hospi2, &sOspiManagerCfg, HAL_OSPI_TIMEOUT_DEFAULT_VALUE) != HAL_OK)
  {
    Error_Handler();
  }
  HAL_OSPI_DLYB_Cfg_Struct.Units = 0;
  HAL_OSPI_DLYB_Cfg_Struct.PhaseSel = 0;
  if (HAL_OSPI_DLYB_SetConfig(&hospi2, &HAL_OSPI_DLYB_Cfg_Struct) != HAL_OK)
  {
    Error_Handler();
  }

}

static void MX_RNG_Init(void)
{

  hrng.Instance = RNG;
  hrng.Init.ClockErrorDetection = RNG_CED_ENABLE;
  if (HAL_RNG_Init(&hrng) != HAL_OK)
  {
    Error_Handler();
  }

}

static void MX_SPI2_Init(void)
{

  SPI_AutonomousModeConfTypeDef HAL_SPI_AutonomousMode_Cfg_Struct = {0};

  /* SPI2 parameter configuration*/
  hspi2.Instance = SPI2;
  hspi2.Init.Mode = SPI_MODE_MASTER;
  hspi2.Init.Direction = SPI_DIRECTION_2LINES;
  hspi2.Init.DataSize = SPI_DATASIZE_8BIT;
  hspi2.Init.CLKPolarity = SPI_POLARITY_LOW;
  hspi2.Init.CLKPhase = SPI_PHASE_1EDGE;
  hspi2.Init.NSS = SPI_NSS_SOFT;
  hspi2.Init.BaudRatePrescaler = SPI_BAUDRATEPRESCALER_8;
  hspi2.Init.FirstBit = SPI_FIRSTBIT_MSB;
  hspi2.Init.TIMode = SPI_TIMODE_DISABLE;
  hspi2.Init.CRCCalculation = SPI_CRCCALCULATION_DISABLE;
  hspi2.Init.CRCPolynomial = 0x7;
  hspi2.Init.NSSPMode = SPI_NSS_PULSE_DISABLE;
  hspi2.Init.NSSPolarity = SPI_NSS_POLARITY_LOW;
  hspi2.Init.FifoThreshold = SPI_FIFO_THRESHOLD_01DATA;
  hspi2.Init.MasterSSIdleness = SPI_MASTER_SS_IDLENESS_00CYCLE;
  hspi2.Init.MasterInterDataIdleness = SPI_MASTER_INTERDATA_IDLENESS_00CYCLE;
  hspi2.Init.MasterReceiverAutoSusp = SPI_MASTER_RX_AUTOSUSP_DISABLE;
  hspi2.Init.MasterKeepIOState = SPI_MASTER_KEEP_IO_STATE_DISABLE;
  hspi2.Init.IOSwap = SPI_IO_SWAP_DISABLE;
  hspi2.Init.ReadyMasterManagement = SPI_RDY_MASTER_MANAGEMENT_INTERNALLY;
  hspi2.Init.ReadyPolarity = SPI_RDY_POLARITY_HIGH;
  if (HAL_SPI_Init(&hspi2) != HAL_OK)
  {
    Error_Handler();
  }
  HAL_SPI_AutonomousMode_Cfg_Struct.TriggerState = SPI_AUTO_MODE_DISABLE;
  HAL_SPI_AutonomousMode_Cfg_Struct.TriggerSelection = SPI_GRP1_GPDMA_CH0_TCF_TRG;
  HAL_SPI_AutonomousMode_Cfg_Struct.TriggerPolarity = SPI_TRIG_POLARITY_RISING;
  if (HAL_SPIEx_SetConfigAutonomousMode(&hspi2, &HAL_SPI_AutonomousMode_Cfg_Struct) != HAL_OK)
  {
    Error_Handler();
  }

}

static void MX_UART4_Init(void)
{

  huart4.Instance = UART4;
  huart4.Init.BaudRate = 115200;
  huart4.Init.WordLength = UART_WORDLENGTH_8B;
  huart4.Init.StopBits = UART_STOPBITS_1;
  huart4.Init.Parity = UART_PARITY_NONE;
  huart4.Init.Mode = UART_MODE_TX_RX;
  huart4.Init.HwFlowCtl = UART_HWCONTROL_NONE;
  huart4.Init.OverSampling = UART_OVERSAMPLING_16;
  huart4.Init.OneBitSampling = UART_ONE_BIT_SAMPLE_DISABLE;
  huart4.Init.ClockPrescaler = UART_PRESCALER_DIV1;
  huart4.AdvancedInit.AdvFeatureInit = UART_ADVFEATURE_NO_INIT;
  if (HAL_UART_Init(&huart4) != HAL_OK)
  {
    Error_Handler();
  }
  if (HAL_UARTEx_SetTxFifoThreshold(&huart4, UART_TXFIFO_THRESHOLD_1_8) != HAL_OK)
  {
    Error_Handler();
  }
  if (HAL_UARTEx_SetRxFifoThreshold(&huart4, UART_RXFIFO_THRESHOLD_1_8) != HAL_OK)
  {
    Error_Handler();
  }
  if (HAL_UARTEx_DisableFifoMode(&huart4) != HAL_OK)
  {
    Error_Handler();
  }

}

static void MX_USART1_UART_Init(void)
{

  huart1.Instance = USART1;
  huart1.Init.BaudRate = 115200;
  huart1.Init.WordLength = UART_WORDLENGTH_8B;
  huart1.Init.StopBits = UART_STOPBITS_1;
  huart1.Init.Parity = UART_PARITY_NONE;
  huart1.Init.Mode = UART_MODE_TX_RX;
  huart1.Init.HwFlowCtl = UART_HWCONTROL_NONE;
  huart1.Init.OverSampling = UART_OVERSAMPLING_16;
  huart1.Init.OneBitSampling = UART_ONE_BIT_SAMPLE_DISABLE;
  huart1.Init.ClockPrescaler = UART_PRESCALER_DIV1;
  huart1.AdvancedInit.AdvFeatureInit = UART_ADVFEATURE_NO_INIT;
  if (HAL_UART_Init(&huart1) != HAL_OK)
  {
    Error_Handler();
  }
  if (HAL_UARTEx_SetTxFifoThreshold(&huart1, UART_TXFIFO_THRESHOLD_1_8) != HAL_OK)
  {
    Error_Handler();
  }
  if (HAL_UARTEx_SetRxFifoThreshold(&huart1, UART_RXFIFO_THRESHOLD_1_8) != HAL_OK)
  {
    Error_Handler();
  }
  if (HAL_UARTEx_DisableFifoMode(&huart1) != HAL_OK)
  {
    Error_Handler();
  }

}

static void MX_USB_OTG_FS_PCD_Init(void)
{

  hpcd_USB_OTG_FS.Instance = USB_OTG_FS;
  hpcd_USB_OTG_FS.Init.dev_endpoints = 6;
  hpcd_USB_OTG_FS.Init.speed = PCD_SPEED_FULL;
  hpcd_USB_OTG_FS.Init.phy_itface = PCD_PHY_EMBEDDED;
  hpcd_USB_OTG_FS.Init.Sof_enable = DISABLE;
  hpcd_USB_OTG_FS.Init.low_power_enable = DISABLE;
  hpcd_USB_OTG_FS.Init.lpm_enable = DISABLE;
  hpcd_USB_OTG_FS.Init.battery_charging_enable = DISABLE;
  hpcd_USB_OTG_FS.Init.use_dedicated_ep1 = DISABLE;
  hpcd_USB_OTG_FS.Init.vbus_sensing_enable = DISABLE;
  hpcd_USB_OTG_FS.Init.dma_enable = DISABLE;
  if (HAL_PCD_Init(&hpcd_USB_OTG_FS) != HAL_OK)
  {
    Error_Handler();
  }

}

static void MX_GPIO_Init(void)
{
  GPIO_InitTypeDef GPIO_InitStruct = {0};

  /* GPIO Ports Clock Enable */
  __HAL_RCC_GPIOG_CLK_ENABLE();
  __HAL_RCC_GPIOC_CLK_ENABLE();
  __HAL_RCC_GPIOI_CLK_ENABLE();
  __HAL_RCC_GPIOH_CLK_ENABLE();
  __HAL_RCC_GPIOB_CLK_ENABLE();
  __HAL_RCC_GPIOD_CLK_ENABLE();
  __HAL_RCC_GPIOA_CLK_ENABLE();
  __HAL_RCC_GPIOE_CLK_ENABLE();
  __HAL_RCC_GPIOF_CLK_ENABLE();

  /*Configure GPIO pin Output Level */
  HAL_GPIO_WritePin(UCPD_PWR_GPIO_Port, UCPD_PWR_Pin, GPIO_PIN_RESET);

  /*Configure GPIO pin Output Level */
  HAL_GPIO_WritePin(GPIOH, LED_RED_Pin|LED_GREEN_Pin|Mems_VL53_xshut_Pin, GPIO_PIN_RESET);

  /*Configure GPIO pin Output Level */
  HAL_GPIO_WritePin(WRLS_WKUP_B_GPIO_Port, WRLS_WKUP_B_Pin, GPIO_PIN_RESET);

  /*Configure GPIO pin Output Level */
  HAL_GPIO_WritePin(WRLS_NSS_GPIO_Port, WRLS_NSS_Pin, GPIO_PIN_SET);

  /*Configure GPIO pin Output Level */
  HAL_GPIO_WritePin(GPIOF, Mems_STSAFE_RESET_Pin|WRLS_WKUP_W_Pin, GPIO_PIN_RESET);

  /*Configure GPIO pin : WRLS_FLOW_Pin */
  GPIO_InitStruct.Pin = WRLS_FLOW_Pin;
  GPIO_InitStruct.Mode = GPIO_MODE_IT_RISING;
  GPIO_InitStruct.Pull = GPIO_NOPULL;
  HAL_GPIO_Init(WRLS_FLOW_GPIO_Port, &GPIO_InitStruct);

  /*Configure GPIO pin : PH3_BOOT0_Pin */
  GPIO_InitStruct.Pin = PH3_BOOT0_Pin;
  GPIO_InitStruct.Mode = GPIO_MODE_INPUT;
  GPIO_InitStruct.Pull = GPIO_NOPULL;
  HAL_GPIO_Init(PH3_BOOT0_GPIO_Port, &GPIO_InitStruct);

  /*Configure GPIO pin : UCPD_PWR_Pin */
  GPIO_InitStruct.Pin = UCPD_PWR_Pin;
  GPIO_InitStruct.Mode = GPIO_MODE_OUTPUT_PP;
  GPIO_InitStruct.Pull = GPIO_NOPULL;
  GPIO_InitStruct.Speed = GPIO_SPEED_FREQ_LOW;
  HAL_GPIO_Init(UCPD_PWR_GPIO_Port, &GPIO_InitStruct);

  /*Configure GPIO pin : USER_Button_Pin */
  GPIO_InitStruct.Pin = USER_Button_Pin;
  GPIO_InitStruct.Mode = GPIO_MODE_INPUT;
  GPIO_InitStruct.Pull = GPIO_NOPULL;
  HAL_GPIO_Init(USER_Button_GPIO_Port, &GPIO_InitStruct);

  /*Configure GPIO pins : LED_RED_Pin LED_GREEN_Pin Mems_VL53_xshut_Pin */
  GPIO_InitStruct.Pin = LED_RED_Pin|LED_GREEN_Pin|Mems_VL53_xshut_Pin;
  GPIO_InitStruct.Mode = GPIO_MODE_OUTPUT_PP;
  GPIO_InitStruct.Pull = GPIO_NOPULL;
  GPIO_InitStruct.Speed = GPIO_SPEED_FREQ_LOW;
  HAL_GPIO_Init(GPIOH, &GPIO_InitStruct);

  /*Configure GPIO pin : MIC_CCK1_Pin */
  GPIO_InitStruct.Pin = MIC_CCK1_Pin;
  GPIO_InitStruct.Mode = GPIO_MODE_AF_PP;
  GPIO_InitStruct.Pull = GPIO_NOPULL;
  GPIO_InitStruct.Speed = GPIO_SPEED_FREQ_LOW;
  GPIO_InitStruct.Alternate = GPIO_AF6_MDF1;
  HAL_GPIO_Init(MIC_CCK1_GPIO_Port, &GPIO_InitStruct);

  /*Configure GPIO pin : WRLS_WKUP_B_Pin */
  GPIO_InitStruct.Pin = WRLS_WKUP_B_Pin;
  GPIO_InitStruct.Mode = GPIO_MODE_OUTPUT_PP;
  GPIO_InitStruct.Pull = GPIO_NOPULL;
  GPIO_InitStruct.Speed = GPIO_SPEED_FREQ_LOW;
  HAL_GPIO_Init(WRLS_WKUP_B_GPIO_Port, &GPIO_InitStruct);

  /*Configure GPIO pins : Mems_VLX_GPIO_Pin Mems_INT_LPS22HH_Pin */
  GPIO_InitStruct.Pin = Mems_VLX_GPIO_Pin|Mems_INT_LPS22HH_Pin;
  GPIO_InitStruct.Mode = GPIO_MODE_INPUT;
  GPIO_InitStruct.Pull = GPIO_NOPULL;
  HAL_GPIO_Init(GPIOG, &GPIO_InitStruct);

  /*Configure GPIO pin : WRLS_NOTIFY_Pin */
  GPIO_InitStruct.Pin = WRLS_NOTIFY_Pin;
  GPIO_InitStruct.Mode = GPIO_MODE_IT_RISING;
  GPIO_InitStruct.Pull = GPIO_NOPULL;
  HAL_GPIO_Init(WRLS_NOTIFY_GPIO_Port, &GPIO_InitStruct);

  /*Configure GPIO pins : USB_UCPD_FLT_Pin Mems_ISM330DLC_INT1_Pin */
  GPIO_InitStruct.Pin = USB_UCPD_FLT_Pin|Mems_ISM330DLC_INT1_Pin;
  GPIO_InitStruct.Mode = GPIO_MODE_INPUT;
  GPIO_InitStruct.Pull = GPIO_NOPULL;
  HAL_GPIO_Init(GPIOE, &GPIO_InitStruct);

  /*Configure GPIO pins : Mems_INT_IIS2MDC_Pin USB_IANA_Pin */
  GPIO_InitStruct.Pin = Mems_INT_IIS2MDC_Pin|USB_IANA_Pin;
  GPIO_InitStruct.Mode = GPIO_MODE_INPUT;
  GPIO_InitStruct.Pull = GPIO_NOPULL;
  HAL_GPIO_Init(GPIOD, &GPIO_InitStruct);

  /*Configure GPIO pin : USB_VBUS_SENSE_Pin */
  GPIO_InitStruct.Pin = USB_VBUS_SENSE_Pin;
  GPIO_InitStruct.Mode = GPIO_MODE_INPUT;
  GPIO_InitStruct.Pull = GPIO_NOPULL;
  HAL_GPIO_Init(USB_VBUS_SENSE_GPIO_Port, &GPIO_InitStruct);

  /*Configure GPIO pin : WRLS_NSS_Pin */
  GPIO_InitStruct.Pin = WRLS_NSS_Pin;
  GPIO_InitStruct.Mode = GPIO_MODE_OUTPUT_PP;
  GPIO_InitStruct.Pull = GPIO_NOPULL;
  GPIO_InitStruct.Speed = GPIO_SPEED_FREQ_HIGH;
  HAL_GPIO_Init(WRLS_NSS_GPIO_Port, &GPIO_InitStruct);

  /*Configure GPIO pin : USB_UCPD_CC2_Pin */
  GPIO_InitStruct.Pin = USB_UCPD_CC2_Pin;
  GPIO_InitStruct.Mode = GPIO_MODE_ANALOG;
  GPIO_InitStruct.Pull = GPIO_NOPULL;
  HAL_GPIO_Init(USB_UCPD_CC2_GPIO_Port, &GPIO_InitStruct);

  /*Configure GPIO pins : Mems_STSAFE_RESET_Pin WRLS_WKUP_W_Pin */
  GPIO_InitStruct.Pin = Mems_STSAFE_RESET_Pin|WRLS_WKUP_W_Pin;
  GPIO_InitStruct.Mode = GPIO_MODE_OUTPUT_PP;
  GPIO_InitStruct.Pull = GPIO_NOPULL;
  GPIO_InitStruct.Speed = GPIO_SPEED_FREQ_LOW;
  HAL_GPIO_Init(GPIOF, &GPIO_InitStruct);

  /*Configure GPIO pin : MIC_SDIN0_Pin */
  GPIO_InitStruct.Pin = MIC_SDIN0_Pin;
  GPIO_InitStruct.Mode = GPIO_MODE_AF_PP;
  GPIO_InitStruct.Pull = GPIO_NOPULL;
  GPIO_InitStruct.Speed = GPIO_SPEED_FREQ_LOW;
  GPIO_InitStruct.Alternate = GPIO_AF6_MDF1;
  HAL_GPIO_Init(MIC_SDIN0_GPIO_Port, &GPIO_InitStruct);

  /* EXTI interrupt init*/
  HAL_NVIC_SetPriority(EXTI14_IRQn, 2, 0);
  HAL_NVIC_EnableIRQ(EXTI14_IRQn);

  HAL_NVIC_SetPriority(EXTI15_IRQn, 2, 0);
  HAL_NVIC_EnableIRQ(EXTI15_IRQn);

}

void HAL_TIM_PeriodElapsedCallback(TIM_HandleTypeDef *htim)
{
  if (htim->Instance == TIM6)
  {
    HAL_IncTick();
  }
}

void Error_Handler(void)
{
  __disable_irq();
  while (1)
  {
  }
}
